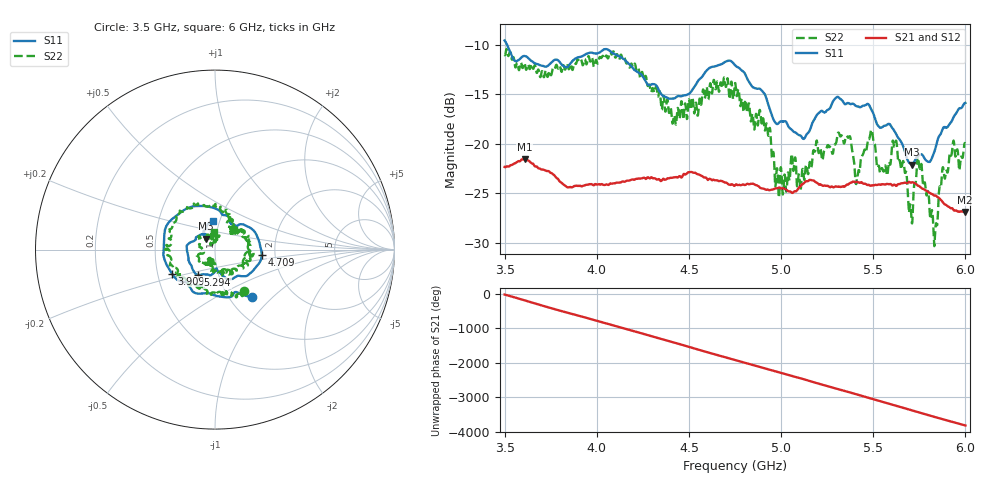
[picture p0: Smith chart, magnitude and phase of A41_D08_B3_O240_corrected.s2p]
! Created with skrf 1.9.0 (http://scikit-rf.org).
# Hz S RI R 50.0
!freq ReS11 ImS11 ReS21 ImS21 ReS12 ImS12 ReS22 ImS22
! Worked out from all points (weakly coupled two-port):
!   1601 points, 3.5 GHz to 6 GHz, reference 50 ohm
!   highest |S21| = -21.53 dB at 3.609 GHz (marker M1); lowest = -26.9 dB at 5.995 GHz (marker M2)
!   lowest |S11| = -22.1 dB at 5.711 GHz (marker M3), VSWR 1.17, Z = 44.9 + j5.52 ohm
!   |S11| at or under -10 dB: 3.513 GHz to end of sweep
!   |S22| runs from -30.3 to -10.4 dB; largest |S21 - S12| = 0.001
!   S11 on the Smith chart (normalised r, x): 3.5 GHz: 1.27, -0.75; 3.909 GHz: 0.59, -0.17; 4.709 GHz: 1.70, -0.11; 5.294 GHz: 0.80, -0.23; 6 GHz: 0.93, +0.31
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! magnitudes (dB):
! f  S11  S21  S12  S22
! 3.5 GHz  -9.6  -22.3  -22.3  -11.0
! 3.609 GHz  -11.1  -21.5  -21.6  -11.9
! 3.909 GHz  -11.2  -24.2  -24.2  -11.6
! 3.917 GHz  -11.2  -24.3  -24.3  -11.6
! 4.334 GHz  -14.5  -23.6  -23.5  -15.2
! 4.42 GHz  -15.4  -23.4  -23.4  -17.1
! 4.709 GHz  -11.6  -24.0  -23.9  -13.4
! 4.75 GHz  -12.1  -24.2  -24.1  -13.9
! 4.93 GHz  -16.0  -24.6  -24.6  -19.1
! 4.98 GHz  -18.0  -24.5  -24.5  -22.6
! 5.167 GHz  -18.0  -23.7  -23.7  -22.1
! 5.294 GHz  -15.4  -24.3  -24.3  -20.1
! 5.412 GHz  -16.2  -23.8  -23.8  -23.6
! 5.487 GHz  -16.5  -24.2  -24.2  -18.7
! 5.584 GHz  -18.0  -24.1  -24.1  -21.9
! 5.617 GHz  -18.8  -24.1  -24.1  -20.1
! 5.711 GHz  -22.1  -23.9  -23.8  -28.0
! 5.75 GHz  -21.1  -24.3  -24.3  -22.4
! 5.838 GHz  -20.4  -25.2  -25.2  -28.4
! 5.925 GHz  -17.7  -26.5  -26.4  -21.1
! 5.995 GHz  -15.9  -26.9  -26.8  -20.0
! 6 GHz  -15.9  -26.9  -26.8  -19.9
